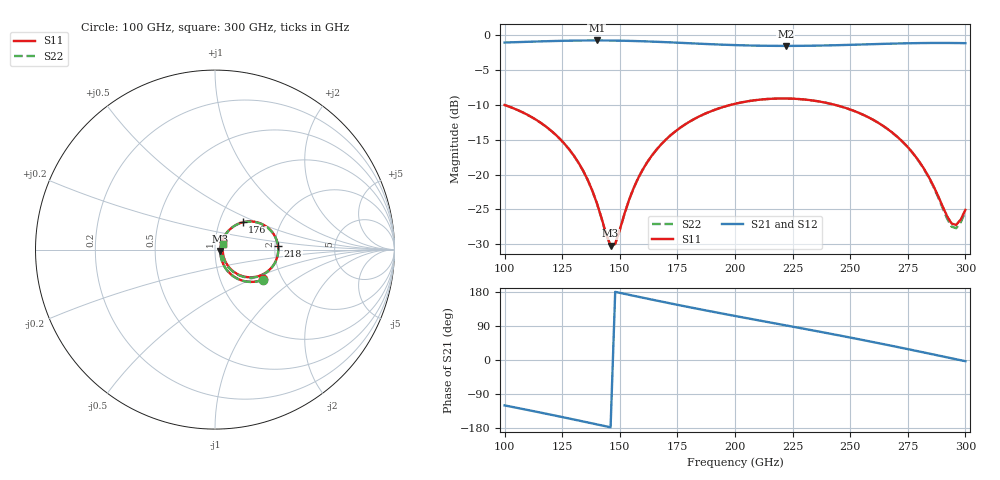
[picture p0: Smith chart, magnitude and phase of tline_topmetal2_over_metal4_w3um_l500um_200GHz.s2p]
#  GHZ S DB R 50
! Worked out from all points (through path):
!   101 points, 100 GHz to 300 GHz, reference 50 ohm
!   highest |S21| = -0.72 dB at 140 GHz (marker M1); lowest = -1.5 dB at 222 GHz (marker M2)
!   group delay of S21, straight-line fit = 3.34 ps
!   lowest |S11| = -30.2 dB at 146 GHz (marker M3), VSWR 1.06, Z = 53.1 - j0.746 ohm
!   |S11| at or under -10 dB: 100 GHz to 197.9 GHz (97.84 GHz wide, 65.7 % of centre); 243.7 GHz to end of sweep
!   |S22| runs from -30.3 to -9.1 dB; largest |S21 - S12| = 1e-13
!   S11 on the Smith chart (normalised r, x): 100 GHz: 1.60, -0.59; 176 GHz: 1.29, +0.41; 218 GHz: 2.08, +0.09; 300 GHz: 1.10, +0.07
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100  -10.00 -31.8  -1.02 -119.9  -1.02 -119.9  -10.00 -31.9
120  -13.64 -51.8  -0.81 -144.3  -0.81 -144.3  -13.64 -52.0
128  -16.36 -58.3  -0.75 -154.4  -0.75 -154.4  -16.37 -58.5
134  -19.39 -60.6  -0.73 -162.1  -0.73 -162.1  -19.40 -60.9
140  -24.05 -55.5  -0.72 -169.9  -0.72 -169.9  -24.08 -55.9
146  -30.20 -13.1  -0.73 -177.6  -0.73 -177.6  -30.29 -13.3
148  -29.91 14.4  -0.74 179.8  -0.74 179.8  -29.99 14.4
154  -23.65 51.1  -0.78 172.1  -0.78 172.1  -23.66 51.2
158  -20.49 55.1  -0.82 166.9  -0.82 166.9  -20.50 55.0
168  -15.64 51.4  -0.94 154.3  -0.94 154.3  -15.64 51.2
176  -13.31 44.7  -1.06 144.5  -1.06 144.5  -13.31 44.5
200  -9.83 21.2  -1.39 116.2  -1.39 116.2  -9.83 20.9
218  -9.07 3.0  -1.50 95.9  -1.50 95.9  -9.07 2.7
222  -9.06 -1.1  -1.50 91.4  -1.50 91.4  -9.06 -1.4
234  -9.36 -13.1  -1.47 77.8  -1.47 77.8  -9.36 -13.5
252  -10.89 -31.0  -1.33 56.9  -1.33 56.9  -10.89 -31.5
268  -13.89 -45.4  -1.18 37.4  -1.18 37.4  -13.90 -46.2
276  -16.43 -50.4  -1.12 27.4  -1.12 27.4  -16.46 -51.5
282  -19.14 -51.1  -1.09 19.8  -1.09 19.8  -19.20 -52.4
294  -27.03 -12.3  -1.08 4.5  -1.08 4.5  -27.47 -13.4
296  -27.23 5.3  -1.09 1.9  -1.09 1.9  -27.70 5.3
300  -25.07 33.5  -1.11 -3.2  -1.11 -3.2  -25.35 34.8
